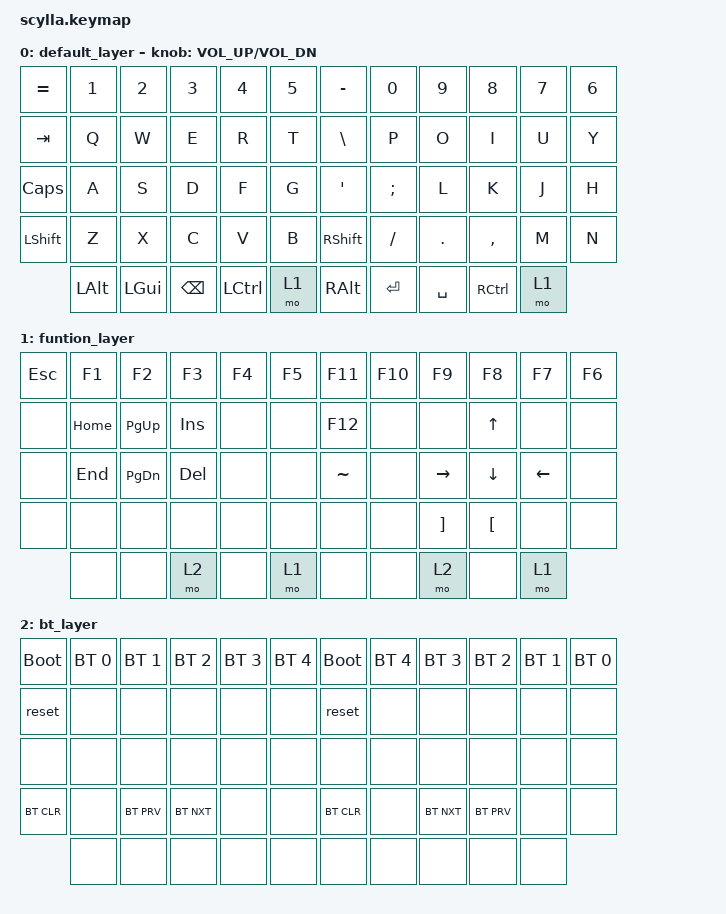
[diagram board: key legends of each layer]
/*
 * Copyright (c) 2020 The ZMK Contributors
 *
 * SPDX-License-Identifier: MIT
 */

#include <behaviors.dtsi>
#include <dt-bindings/zmk/keys.h>
#include <dt-bindings/zmk/bt.h>

/ {
    keymap {
        compatible = "zmk,keymap";

        default_layer {
            bindings = <
&kp EQUAL    &kp N1    &kp N2         &kp N3     &kp N4  &kp N5  &kp MINUS    &kp N0   &kp N9     &kp N8     &kp N7  &kp N6
  &kp TAB     &kp Q     &kp W          &kp E      &kp R   &kp T   &kp BSLH     &kp P    &kp O      &kp I      &kp U   &kp Y
 &kp CAPS     &kp A     &kp S          &kp D      &kp F   &kp G    &kp SQT  &kp SEMI    &kp L      &kp K      &kp J   &kp H
&kp LSHFT     &kp Z     &kp X          &kp C      &kp V   &kp B  &kp RSHFT  &kp FSLH  &kp DOT  &kp COMMA      &kp M   &kp N
           &kp LALT  &kp LGUI  &kp BACKSPACE  &kp LCTRL   &mo 1             &kp RALT  &kp RET  &kp SPACE  &kp RCTRL   &mo 1
            >;

            sensor-bindings = <&inc_dec_kp C_VOL_UP C_VOL_DN>;
        };

        funtion_layer {
            bindings = <
&kp ESC    &kp F1         &kp F2   &kp F3  &kp F4  &kp F5    &kp F11  &kp F10             &kp F9            &kp F8    &kp F7  &kp F6
  &none  &kp HOME    &kp PAGE_UP  &kp INS   &none   &none    &kp F12    &none              &none            &kp UP     &none   &none
  &none   &kp END  &kp PAGE_DOWN  &kp DEL   &none   &none  &kp TILDE    &none          &kp RIGHT          &kp DOWN  &kp LEFT   &none
  &none     &none          &none    &none   &none   &none      &none    &none  &kp RIGHT_BRACKET  &kp LEFT_BRACKET     &none   &none
            &none          &none    &mo 2   &none   &mo 1               &none              &none             &mo 2     &none   &mo 1
            >;
        };

        bt_layer {
            bindings = <
&bootloader  &bt BT_SEL 0  &bt BT_SEL 1  &bt BT_SEL 2  &bt BT_SEL 3  &bt BT_SEL 4  &bootloader  &bt BT_SEL 4  &bt BT_SEL 3  &bt BT_SEL 2  &bt BT_SEL 1  &bt BT_SEL 0
     &reset         &none         &none         &none         &none         &none       &reset         &none         &none         &none         &none         &none
      &none         &none         &none         &none         &none         &none        &none         &none         &none         &none         &none         &none
 &bt BT_CLR         &none    &bt BT_PRV    &bt BT_NXT         &none         &none   &bt BT_CLR         &none    &bt BT_NXT    &bt BT_PRV         &none         &none
                    &none         &none         &none         &none         &none                      &none         &none         &none         &none         &none
            >;
        };
    };
};
